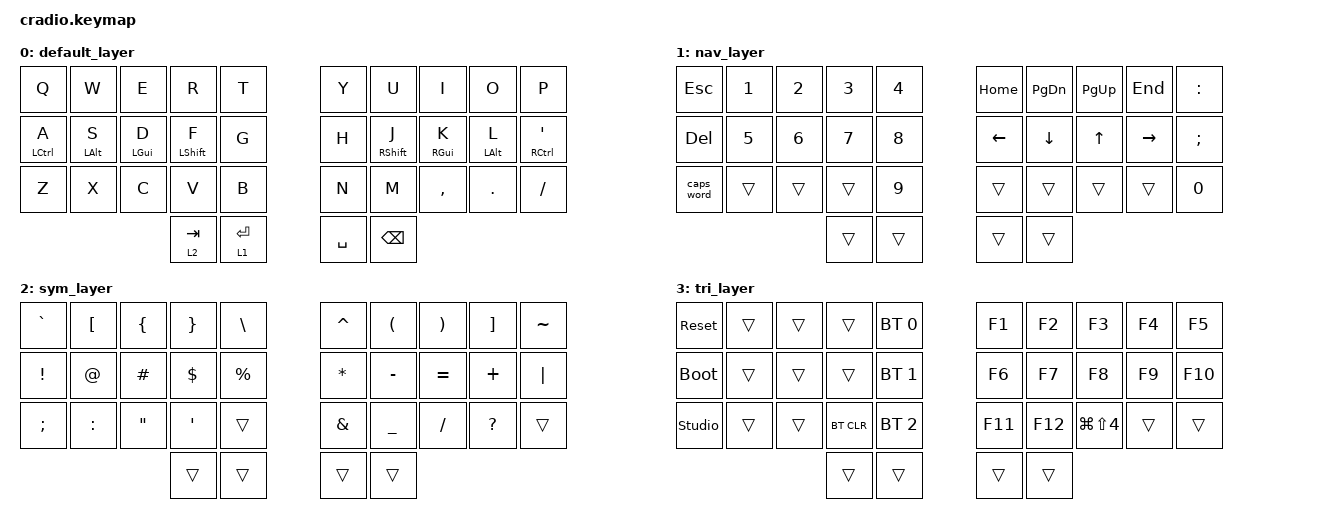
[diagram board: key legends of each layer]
// Copyright (c) 2022 The ZMK Contributors
// SPDX-License-Identifier: MIT
//
// Simple programmer layout for Ferris Sweep / Cradio (34-key).
// - QWERTY base with home-row mods (Ctrl / Alt / Cmd / Shift)
// - Hold TAB  → symbols layer
// - Hold ENTER → nav / numbers layer
// - Plain SPACE and BACKSPACE thumbs
// - No combos
//
// Home-row mods (macOS-friendly, Cmd on the middle finger):
//   A=Ctrl  S=Alt  D=Cmd  F=Shift      J=Shift  K=Cmd  L=Alt  '=Ctrl
//
// Cross-hand shortcuts are instant (hold K + tap S for Cmd+S).
// Same-hand shortcuts (e.g. Cmd+Z) work too — just hold D slightly
// longer (past the tapping term) before tapping Z.

#include <behaviors.dtsi>
#include <dt-bindings/zmk/keys.h>
#include <dt-bindings/zmk/bt.h>

// Key position groups for positional hold-tap
#define KEYS_L 0 1 2 3 4 10 11 12 13 14 20 21 22 23 24
#define KEYS_R 5 6 7 8 9 15 16 17 18 19 25 26 27 28 29
#define THUMBS 30 31 32 33

/ {
    behaviors {
        // Left-hand home-row mod: only holds when a right-hand key follows
        hml: home_row_mod_left {
            compatible = "zmk,behavior-hold-tap";
            #binding-cells = <2>;
            flavor = "balanced";
            tapping-term-ms = <280>;
            quick-tap-ms = <175>;
            require-prior-idle-ms = <150>;
            bindings = <&kp>, <&kp>;
            hold-trigger-key-positions = <KEYS_R THUMBS>;
            hold-trigger-on-release;
        };

        // Right-hand home-row mod: only holds when a left-hand key follows
        hmr: home_row_mod_right {
            compatible = "zmk,behavior-hold-tap";
            #binding-cells = <2>;
            flavor = "balanced";
            tapping-term-ms = <280>;
            quick-tap-ms = <175>;
            require-prior-idle-ms = <150>;
            bindings = <&kp>, <&kp>;
            hold-trigger-key-positions = <KEYS_L THUMBS>;
            hold-trigger-on-release;
        };
    };

    conditional_layers {
        compatible = "zmk,conditional-layers";
        tri_layer {
            if-layers = <1 2>;
            then-layer = <3>;
        };
    };

    keymap {
        compatible = "zmk,keymap";

        default_layer {
            bindings = <
        //╭──────────┬──────────┬──────────┬──────────┬──────────╮   ╭──────────┬──────────┬──────────┬──────────┬──────────╮
        //│  Q       │  W       │  E       │  R       │  T       │   │  Y       │  U       │  I       │  O       │  P       │
            &kp Q      &kp W      &kp E      &kp R      &kp T          &kp Y      &kp U      &kp I      &kp O      &kp P
        //├──────────┼──────────┼──────────┼──────────┼──────────┤   ├──────────┼──────────┼──────────┼──────────┼──────────┤
        //│ A (CTRL) │ S (ALT)  │ D (CMD)  │ F (SHFT) │  G       │   │  H       │ J (SHFT) │ K (CMD)  │ L (ALT)  │ ' (CTRL) │
         &hml LCTRL A &hml LALT S &hml LGUI D &hml LSHFT F &kp G       &kp H  &hmr RSHFT J &hmr RGUI K &hmr LALT L &hmr RCTRL SQT
        //├──────────┼──────────┼──────────┼──────────┼──────────┤   ├──────────┼──────────┼──────────┼──────────┼──────────┤
        //│  Z       │  X       │  C       │  V       │  B       │   │  N       │  M       │ , <      │ . >      │ / ?      │
            &kp Z      &kp X      &kp C      &kp V      &kp B          &kp N      &kp M      &kp COMMA  &kp DOT    &kp FSLH
        //╰──────────┴──────────┴──────────┼──────────┼──────────┤   ├──────────┼──────────┼──────────┴──────────┴──────────╯
                                            &lt 2 TAB   &lt 1 RET     &kp SPACE  &kp BSPC
        //                                 ╰──────────┴──────────╯   ╰──────────┴──────────╯
            >;
        };

        nav_layer {
            bindings = <
        //╭──────────┬──────────┬──────────┬──────────┬──────────╮   ╭──────────┬──────────┬──────────┬──────────┬──────────╮
        //│ ESC      │  1       │  2       │  3       │  4       │   │ HOME     │ PAGE DN  │ PAGE UP  │ END      │  :       │
            &kp ESC    &kp N1     &kp N2     &kp N3     &kp N4         &kp HOME   &kp PG_DN  &kp PG_UP  &kp END    &kp COLON
        //├──────────┼──────────┼──────────┼──────────┼──────────┤   ├──────────┼──────────┼──────────┼──────────┼──────────┤
        //│ DELETE   │  5       │  6       │  7       │  8       │   │ LEFT     │ DOWN     │ UP       │ RIGHT    │  ;       │
            &kp DEL    &kp N5     &kp N6     &kp N7     &kp N8         &kp LEFT   &kp DOWN   &kp UP     &kp RIGHT  &kp SEMI
        //├──────────┼──────────┼──────────┼──────────┼──────────┤   ├──────────┼──────────┼──────────┼──────────┼──────────┤
        //│ CAPS WORD│          │          │          │  9       │   │          │          │          │          │  0       │
           &caps_word  &trans     &trans     &trans     &kp N9         &trans     &trans     &trans     &trans     &kp N0
        //╰──────────┴──────────┴──────────┼──────────┼──────────┤   ├──────────┼──────────┼──────────┴──────────┴──────────╯
                                             &trans     &trans         &trans     &trans
        //                                 ╰──────────┴──────────╯   ╰──────────┴──────────╯
            >;
        };

        sym_layer {
            bindings = <
        //╭──────────┬──────────┬──────────┬──────────┬──────────╮   ╭──────────┬──────────┬──────────┬──────────┬──────────╮
        //│  `       │  [       │  {       │  }       │  \       │   │  ^       │  (       │  )       │  ]       │  ~       │
            &kp GRAVE  &kp LBKT   &kp LBRC   &kp RBRC   &kp BSLH       &kp CARET  &kp LPAR   &kp RPAR   &kp RBKT   &kp TILDE
        //├──────────┼──────────┼──────────┼──────────┼──────────┤   ├──────────┼──────────┼──────────┼──────────┼──────────┤
        //│  !       │  @       │  #       │  $       │  %       │   │  *       │  -       │  =       │  +       │  |       │
            &kp EXCL   &kp AT     &kp HASH   &kp DLLR   &kp PRCNT      &kp ASTRK  &kp MINUS  &kp EQUAL  &kp PLUS   &kp PIPE
        //├──────────┼──────────┼──────────┼──────────┼──────────┤   ├──────────┼──────────┼──────────┼──────────┼──────────┤
        //│  ;       │  :       │  "       │  '       │          │   │  &       │  _       │  /       │  ?       │          │
            &kp SEMI   &kp COLON  &kp DOUBLE_QUOTES &kp SQT  &trans         &kp AMPS   &kp UNDER  &kp FSLH   &kp QMARK  &trans
        //╰──────────┴──────────┴──────────┼──────────┼──────────┤   ├──────────┼──────────┼──────────┴──────────┴──────────╯
                                             &trans     &trans         &trans     &trans
        //                                 ╰──────────┴──────────╯   ╰──────────┴──────────╯
            >;
        };

        tri_layer {
            bindings = <
        //╭──────────┬──────────┬──────────┬──────────┬──────────╮   ╭──────────┬──────────┬──────────┬──────────┬──────────╮
        //│ RESET    │          │          │          │PROFILE 0 │   │  F1      │  F2      │  F3      │  F4      │  F5      │
           &sys_reset  &trans     &trans     &trans    &bt BT_SEL 0    &kp F1     &kp F2     &kp F3     &kp F4     &kp F5
        //├──────────┼──────────┼──────────┼──────────┼──────────┤   ├──────────┼──────────┼──────────┼──────────┼──────────┤
        //│BOOTLOADER│          │          │          │PROFILE 1 │   │  F6      │  F7      │  F8      │  F9      │  F10     │
          &bootloader  &trans     &trans     &trans    &bt BT_SEL 1    &kp F6     &kp F7     &kp F8     &kp F9     &kp F10
        //├──────────┼──────────┼──────────┼──────────┼──────────┤   ├──────────┼──────────┼──────────┼──────────┼──────────┤
        //│   STD    │          │          │ CLEAR BT │PROFILE 2 │   │  F11     │  F12     │ ⌘⇧4 SCRN │          │          │
        &studio_unlock &trans     &trans    &bt BT_CLR &bt BT_SEL 2    &kp F11    &kp F12  &kp LG(LS(N4)) &trans    &trans
        //╰──────────┴──────────┴──────────┼──────────┼──────────┤   ├──────────┼──────────┼──────────┴──────────┴──────────╯
                                             &trans     &trans         &trans     &trans
        //                                 ╰──────────┴──────────╯   ╰──────────┴──────────╯
            >;
        };
    };
};
